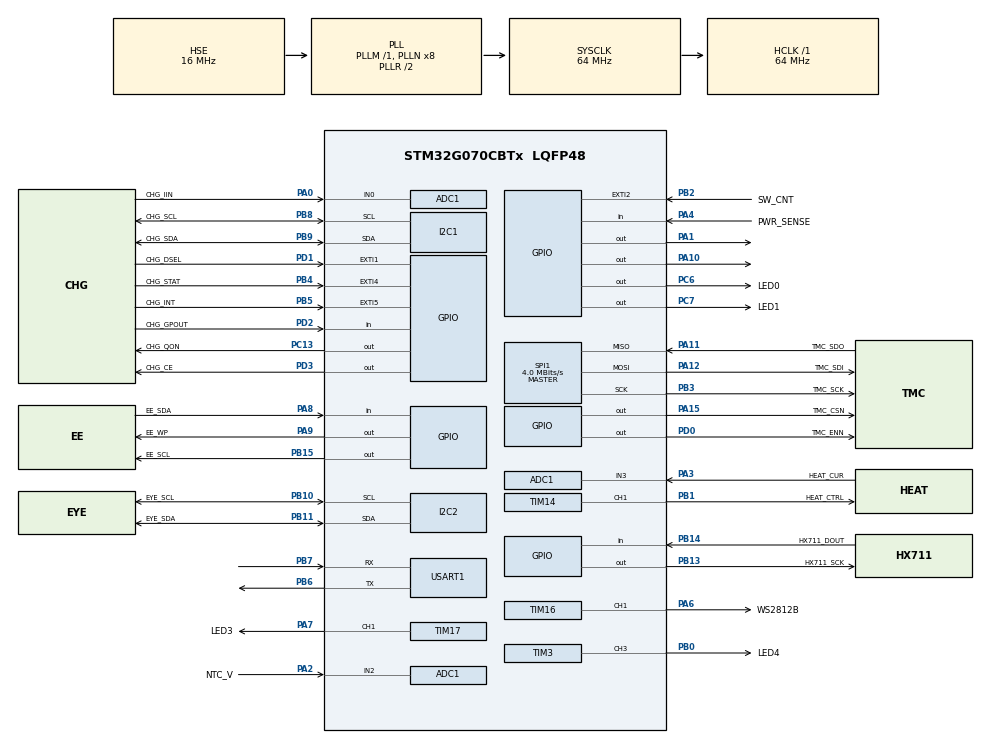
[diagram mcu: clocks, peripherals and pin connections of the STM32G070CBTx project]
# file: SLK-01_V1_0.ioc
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ADC1.Channel-0\#ChannelRegularConversion=ADC_CHANNEL_0
ADC1.Channel-1\#ChannelRegularConversion=ADC_CHANNEL_2
ADC1.Channel-2\#ChannelRegularConversion=ADC_CHANNEL_3
ADC1.ClockPrescaler=ADC_CLOCK_ASYNC_DIV32
ADC1.ContinuousConvMode=ENABLE
ADC1.DMAContinuousRequests=ENABLE
ADC1.EOCSelection=ADC_EOC_SEQ_CONV
ADC1.NbrOfConversion=3
ADC1.NbrOfConversionFlag=1
ADC1.Overrun=ADC_OVR_DATA_OVERWRITTEN
ADC1.OversamplingMode=ENABLE
ADC1.Rank-0\#ChannelRegularConversion=1
ADC1.Rank-1\#ChannelRegularConversion=2
ADC1.Rank-2\#ChannelRegularConversion=3
ADC1.Ratio=ADC_OVERSAMPLING_RATIO_256
ADC1.Resolution=ADC_RESOLUTION_12B
ADC1.RightBitShift=ADC_RIGHTBITSHIFT_4
ADC1.SamplingTime-0\#ChannelRegularConversion=ADC_SAMPLINGTIME_COMMON_1
ADC1.SamplingTime-1\#ChannelRegularConversion=ADC_SAMPLINGTIME_COMMON_1
ADC1.SamplingTime-2\#ChannelRegularConversion=ADC_SAMPLINGTIME_COMMON_1
ADC1.SelectedChannel=ADC_CHANNEL_0|ADC_CHANNEL_2|ADC_CHANNEL_3
ADC1.master=1
Dma.ADC1.4.Direction=DMA_PERIPH_TO_MEMORY
Dma.ADC1.4.EventEnable=DISABLE
Dma.ADC1.4.Instance=DMA1_Channel5
Dma.ADC1.4.MemDataAlignment=DMA_MDATAALIGN_HALFWORD
Dma.ADC1.4.MemInc=DMA_MINC_ENABLE
Dma.ADC1.4.Mode=DMA_CIRCULAR
Dma.ADC1.4.PeriphDataAlignment=DMA_PDATAALIGN_HALFWORD
Dma.ADC1.4.PeriphInc=DMA_PINC_DISABLE
Dma.ADC1.4.Polarity=HAL_DMAMUX_REQ_GEN_RISING
Dma.ADC1.4.Priority=DMA_PRIORITY_LOW
Dma.ADC1.4.RequestNumber=1
Dma.ADC1.4.SignalID=NONE
Dma.ADC1.4.SyncEnable=DISABLE
Dma.ADC1.4.SyncPolarity=HAL_DMAMUX_SYNC_NO_EVENT
Dma.ADC1.4.SyncRequestNumber=1
Dma.ADC1.4.SyncSignalID=NONE
Dma.I2C1_RX.0.Direction=DMA_PERIPH_TO_MEMORY
Dma.I2C1_RX.0.EventEnable=DISABLE
Dma.I2C1_RX.0.Instance=DMA1_Channel1
Dma.I2C1_RX.0.MemDataAlignment=DMA_MDATAALIGN_BYTE
Dma.I2C1_RX.0.MemInc=DMA_MINC_ENABLE
Dma.I2C1_RX.0.Mode=DMA_NORMAL
Dma.I2C1_RX.0.PeriphDataAlignment=DMA_PDATAALIGN_BYTE
Dma.I2C1_RX.0.PeriphInc=DMA_PINC_DISABLE
Dma.I2C1_RX.0.Polarity=HAL_DMAMUX_REQ_GEN_RISING
Dma.I2C1_RX.0.Priority=DMA_PRIORITY_LOW
Dma.I2C1_RX.0.RequestNumber=1
Dma.I2C1_RX.0.SignalID=NONE
Dma.I2C1_RX.0.SyncEnable=DISABLE
Dma.I2C1_RX.0.SyncPolarity=HAL_DMAMUX_SYNC_NO_EVENT
Dma.I2C1_RX.0.SyncRequestNumber=1
Dma.I2C1_RX.0.SyncSignalID=NONE
Dma.I2C1_TX.1.Direction=DMA_MEMORY_TO_PERIPH
Dma.I2C1_TX.1.EventEnable=DISABLE
Dma.I2C1_TX.1.Instance=DMA1_Channel2
Dma.I2C1_TX.1.MemDataAlignment=DMA_MDATAALIGN_BYTE
Dma.I2C1_TX.1.MemInc=DMA_MINC_ENABLE
Dma.I2C1_TX.1.Mode=DMA_NORMAL
Dma.I2C1_TX.1.PeriphDataAlignment=DMA_PDATAALIGN_BYTE
Dma.I2C1_TX.1.PeriphInc=DMA_PINC_DISABLE
Dma.I2C1_TX.1.Polarity=HAL_DMAMUX_REQ_GEN_RISING
Dma.I2C1_TX.1.Priority=DMA_PRIORITY_LOW
Dma.I2C1_TX.1.RequestNumber=1
Dma.I2C1_TX.1.SignalID=NONE
Dma.I2C1_TX.1.SyncEnable=DISABLE
Dma.I2C1_TX.1.SyncPolarity=HAL_DMAMUX_SYNC_NO_EVENT
Dma.I2C1_TX.1.SyncRequestNumber=1
Dma.I2C1_TX.1.SyncSignalID=NONE
Dma.I2C2_RX.2.Direction=DMA_PERIPH_TO_MEMORY
Dma.I2C2_RX.2.EventEnable=DISABLE
Dma.I2C2_RX.2.Instance=DMA1_Channel3
Dma.I2C2_RX.2.MemDataAlignment=DMA_MDATAALIGN_BYTE
Dma.I2C2_RX.2.MemInc=DMA_MINC_ENABLE
Dma.I2C2_RX.2.Mode=DMA_NORMAL
Dma.I2C2_RX.2.PeriphDataAlignment=DMA_PDATAALIGN_BYTE
Dma.I2C2_RX.2.PeriphInc=DMA_PINC_DISABLE
Dma.I2C2_RX.2.Polarity=HAL_DMAMUX_REQ_GEN_RISING
Dma.I2C2_RX.2.Priority=DMA_PRIORITY_LOW
Dma.I2C2_RX.2.RequestNumber=1
Dma.I2C2_RX.2.SignalID=NONE
Dma.I2C2_RX.2.SyncEnable=DISABLE
Dma.I2C2_RX.2.SyncPolarity=HAL_DMAMUX_SYNC_NO_EVENT
Dma.I2C2_RX.2.SyncRequestNumber=1
Dma.I2C2_RX.2.SyncSignalID=NONE
Dma.I2C2_TX.3.Direction=DMA_MEMORY_TO_PERIPH
Dma.I2C2_TX.3.EventEnable=DISABLE
Dma.I2C2_TX.3.Instance=DMA1_Channel4
Dma.I2C2_TX.3.MemDataAlignment=DMA_MDATAALIGN_BYTE
Dma.I2C2_TX.3.MemInc=DMA_MINC_ENABLE
Dma.I2C2_TX.3.Mode=DMA_NORMAL
Dma.I2C2_TX.3.PeriphDataAlignment=DMA_PDATAALIGN_BYTE
Dma.I2C2_TX.3.PeriphInc=DMA_PINC_DISABLE
Dma.I2C2_TX.3.Polarity=HAL_DMAMUX_REQ_GEN_RISING
Dma.I2C2_TX.3.Priority=DMA_PRIORITY_LOW
Dma.I2C2_TX.3.RequestNumber=1
Dma.I2C2_TX.3.SignalID=NONE
Dma.I2C2_TX.3.SyncEnable=DISABLE
Dma.I2C2_TX.3.SyncPolarity=HAL_DMAMUX_SYNC_NO_EVENT
Dma.I2C2_TX.3.SyncRequestNumber=1
Dma.I2C2_TX.3.SyncSignalID=NONE
Dma.Request0=I2C1_RX
Dma.Request1=I2C1_TX
Dma.Request2=I2C2_RX
Dma.Request3=I2C2_TX
Dma.Request4=ADC1
Dma.Request5=TIM16_CH1
Dma.Request6=USART1_RX
Dma.TIM16_CH1.5.Direction=DMA_MEMORY_TO_PERIPH
Dma.TIM16_CH1.5.EventEnable=DISABLE
Dma.TIM16_CH1.5.Instance=DMA1_Channel7
Dma.TIM16_CH1.5.MemDataAlignment=DMA_MDATAALIGN_HALFWORD
Dma.TIM16_CH1.5.MemInc=DMA_MINC_ENABLE
Dma.TIM16_CH1.5.Mode=DMA_CIRCULAR
Dma.TIM16_CH1.5.PeriphDataAlignment=DMA_PDATAALIGN_HALFWORD
Dma.TIM16_CH1.5.PeriphInc=DMA_PINC_DISABLE
Dma.TIM16_CH1.5.Polarity=HAL_DMAMUX_REQ_GEN_RISING
Dma.TIM16_CH1.5.Priority=DMA_PRIORITY_MEDIUM
Dma.TIM16_CH1.5.RequestNumber=1
Dma.TIM16_CH1.5.SignalID=NONE
Dma.TIM16_CH1.5.SyncEnable=DISABLE
Dma.TIM16_CH1.5.SyncPolarity=HAL_DMAMUX_SYNC_NO_EVENT
Dma.TIM16_CH1.5.SyncRequestNumber=1
Dma.TIM16_CH1.5.SyncSignalID=NONE
Dma.USART1_RX.6.Direction=DMA_PERIPH_TO_MEMORY
Dma.USART1_RX.6.EventEnable=DISABLE
Dma.USART1_RX.6.Instance=DMA1_Channel6
Dma.USART1_RX.6.MemDataAlignment=DMA_MDATAALIGN_BYTE
Dma.USART1_RX.6.MemInc=DMA_MINC_ENABLE
Dma.USART1_RX.6.Mode=DMA_NORMAL
Dma.USART1_RX.6.PeriphDataAlignment=DMA_PDATAALIGN_BYTE
Dma.USART1_RX.6.PeriphInc=DMA_PINC_DISABLE
Dma.USART1_RX.6.Polarity=HAL_DMAMUX_REQ_GEN_RISING
Dma.USART1_RX.6.Priority=DMA_PRIORITY_LOW
Dma.USART1_RX.6.RequestNumber=1
Dma.USART1_RX.6.SignalID=NONE
Dma.USART1_RX.6.SyncEnable=DISABLE
Dma.USART1_RX.6.SyncPolarity=HAL_DMAMUX_SYNC_NO_EVENT
Dma.USART1_RX.6.SyncRequestNumber=1
Dma.USART1_RX.6.SyncSignalID=NONE
I2C1.CustomTiming=Disabled
I2C1.Timing=0x10707DBC
I2C2.Timing=0x10707DBC
Mcu.Family=STM32G0
Mcu.Name=STM32G070CBTx
Mcu.Package=LQFP48
NVIC.ADC1_IRQn=true\:0\:0\:false\:false\:true\:true\:true\:true
NVIC.DMA1_Ch4_7_DMAMUX1_OVR_IRQn=true\:0\:0\:false\:false\:true\:false\:true\:true
NVIC.DMA1_Channel1_IRQn=true\:0\:0\:false\:false\:true\:false\:true\:true
NVIC.DMA1_Channel2_3_IRQn=true\:0\:0\:false\:false\:true\:false\:true\:true
NVIC.EXTI2_3_IRQn=true\:0\:0\:false\:false\:true\:true\:true\:true
NVIC.I2C1_IRQn=true\:0\:0\:false\:false\:true\:true\:true\:true
NVIC.I2C2_IRQn=true\:0\:0\:false\:false\:true\:true\:true\:true
NVIC.TIM6_IRQn=true\:0\:0\:false\:false\:true\:true\:true\:true
NVIC.TIM7_IRQn=true\:0\:0\:false\:false\:true\:true\:true\:true
NVIC.USART1_IRQn=true\:0\:0\:false\:false\:true\:true\:true\:true
PA0.GPIO_Label=CHG_IIN
PA0.Mode=IN0
PA0.Signal=ADC1_IN0
PA1.GPIO_ModeDefaultOutputPP=GPIO_MODE_OUTPUT_PP
PA1.GPIO_PuPd=GPIO_PULLDOWN
PA1.GPIO_Speed=GPIO_SPEED_FREQ_LOW
PA1.PinState=GPIO_PIN_RESET
PA1.Signal=GPIO_Output
PA10.GPIO_FMPA10=__NULL
PA10.GPIO_ModeDefaultOutputPP=GPIO_MODE_OUTPUT_OD
PA10.GPIO_PuPd=GPIO_NOPULL
PA10.PinState=GPIO_PIN_RESET
PA10.Signal=GPIO_Output
PA11\ [PA9].GPIO_Label=TMC_SDO
PA11\ [PA9].Mode=Full_Duplex_Master
PA11\ [PA9].Signal=SPI1_MISO
PA12\ [PA10].GPIO_Label=TMC_SDI
PA12\ [PA10].Mode=Full_Duplex_Master
PA12\ [PA10].Signal=SPI1_MOSI
PA13.Mode=Serial_Wire
PA13.Signal=SYS_SWDIO
PA14-BOOT0.Mode=Serial_Wire
PA14-BOOT0.Signal=SYS_SWCLK
PA15.GPIO_Label=TMC_CSN
PA15.PinState=GPIO_PIN_SET
PA15.Signal=GPIO_Output
PA2.GPIO_Label=NTC_V
PA2.Mode=IN2
PA2.Signal=ADC1_IN2
PA3.GPIO_Label=HEAT_CUR
PA3.Mode=IN3
PA3.Signal=ADC1_IN3
PA4.GPIO_Label=PWR_SENSE
PA4.GPIO_PuPd=GPIO_PULLDOWN
PA4.Signal=GPIO_Input
PA6.GPIO_Label=WS2812B
PA6.GPIO_Speed=GPIO_SPEED_FREQ_VERY_HIGH
PA6.Signal=S_TIM16_CH1
PA7.GPIO_Label=LED3
PA7.Signal=S_TIM17_CH1
PA8.GPIO_Label=EE_SDA
PA8.Signal=GPIO_Input
PA9.GPIO_Label=EE_WP
PA9.Signal=GPIO_Output
PB0.GPIO_Label=LED4
PB0.Signal=S_TIM3_CH3
PB1.GPIO_Label=HEAT_CTRL
PB1.Signal=S_TIM14_CH1
PB10.GPIO_Label=EYE_SCL
PB10.Mode=I2C
PB10.Signal=I2C2_SCL
PB11.GPIO_Label=EYE_SDA
PB11.Mode=I2C
PB11.Signal=I2C2_SDA
PB13.GPIO_Label=HX711_SCK
PB13.Signal=GPIO_Output
PB14.GPIO_Label=HX711_DOUT
PB14.Signal=GPIO_Input
PB15.GPIO_Label=EE_SCL
PB15.Signal=GPIO_Output
PB2.GPIO_Label=SW_CNT
PB2.GPIO_ModeDefaultEXTI=GPIO_MODE_IT_FALLING
PB2.Signal=GPXTI2
PB3.GPIO_Label=TMC_SCK
PB3.Mode=Full_Duplex_Master
PB3.Signal=SPI1_SCK
PB4.GPIO_Label=CHG_STAT
PB4.Signal=GPXTI4
PB5.GPIO_Label=CHG_INT
PB5.Signal=GPXTI5
PB6.Mode=Asynchronous
PB6.Signal=USART1_TX
PB7.Mode=Asynchronous
PB7.Signal=USART1_RX
PB8.GPIO_Label=CHG_SCL
PB8.Mode=I2C
PB8.Signal=I2C1_SCL
PB9.GPIO_Label=CHG_SDA
PB9.Mode=I2C
PB9.Signal=I2C1_SDA
PC13.GPIO_Label=CHG_QON
PC13.Signal=GPIO_Output
PC14-OSC32_IN\ (PC14).Mode=LSE-External-Oscillator
PC14-OSC32_IN\ (PC14).Signal=RCC_OSC32_IN
PC15-OSC32_OUT\ (PC15).Mode=LSE-External-Oscillator
PC15-OSC32_OUT\ (PC15).Signal=RCC_OSC32_OUT
PC6.GPIO_Label=LED0
PC6.PinState=GPIO_PIN_SET
PC6.Signal=GPIO_Output
PC7.GPIO_Label=LED1
PC7.PinState=GPIO_PIN_SET
PC7.Signal=GPIO_Output
PD0.GPIO_Label=TMC_ENN
PD0.PinState=GPIO_PIN_SET
PD0.Signal=GPIO_Output
PD1.GPIO_Label=CHG_DSEL
PD1.Signal=GPXTI1
PD2.GPIO_Label=CHG_GPOUT
PD2.Signal=GPIO_Input
PD3.GPIO_Label=CHG_CE
PD3.PinState=GPIO_PIN_SET
PD3.Signal=GPIO_Output
PF0-OSC_IN\ (PF0).Mode=HSE-External-Oscillator
PF0-OSC_IN\ (PF0).Signal=RCC_OSC_IN
PF1-OSC_OUT\ (PF1).Mode=HSE-External-Oscillator
PF1-OSC_OUT\ (PF1).Signal=RCC_OSC_OUT
ProjectManager.HeapSize=0x200
ProjectManager.StackSize=0x400
ProjectManager.TargetToolchain=MDK-ARM V5
RCC.ADCFreq_Value=64000000
RCC.AHBFreq_Value=64000000
RCC.CortexFreq_Value=64000000
RCC.EXTERNAL_CLOCK_VALUE=48000
RCC.HCLKFreq_Value=64000000
RCC.HSE_VALUE=16000000
RCC.HSI_VALUE=16000000
RCC.PLLSourceVirtual=RCC_PLLSOURCE_HSE
RCC.SYSCLKFreq_VALUE=64000000
RCC.SYSCLKSource=RCC_SYSCLKSOURCE_PLLCLK
RCC.VCOOutputFreq_Value=128000000
SH.S_TIM14_CH1.0=TIM14_CH1,PWM Generation1 CH1
SH.S_TIM16_CH1.0=TIM16_CH1,PWM Generation1 CH1
SH.S_TIM17_CH1.0=TIM17_CH1,PWM Generation1 CH1
SH.S_TIM3_CH3.0=TIM3_CH3,PWM Generation3 CH3
SPI1.BaudRatePrescaler=SPI_BAUDRATEPRESCALER_16
SPI1.CLKPhase=SPI_PHASE_2EDGE
SPI1.CLKPolarity=SPI_POLARITY_HIGH
SPI1.CalculateBaudRate=4.0 MBits/s
SPI1.DataSize=SPI_DATASIZE_8BIT
SPI1.Direction=SPI_DIRECTION_2LINES
SPI1.Mode=SPI_MODE_MASTER
SPI1.VirtualType=VM_MASTER
TIM14.Channel=TIM_CHANNEL_1
TIM14.Period=255
TIM14.Prescaler=63
TIM16.AutoReloadPreload=TIM_AUTORELOAD_PRELOAD_DISABLE
TIM16.Channel=TIM_CHANNEL_1
TIM16.Period=160
TIM16.Prescaler=0
TIM17.Channel=TIM_CHANNEL_1
TIM17.Period=499
TIM17.Prescaler=63
TIM3.Channel-PWM\ Generation3\ CH3=TIM_CHANNEL_3
TIM3.Period=499
TIM3.Prescaler=63
TIM6.AutoReloadPreload=TIM_AUTORELOAD_PRELOAD_ENABLE
TIM6.Period=49999
TIM6.Prescaler=639
TIM7.AutoReloadPreload=TIM_AUTORELOAD_PRELOAD_ENABLE
TIM7.Period=4999
TIM7.Prescaler=639
USART1.VirtualMode-Asynchronous=VM_ASYNC
VP_SYS_VS_DBSignals.Mode=DisableDeadBatterySignals
VP_TIM14_VS_ClockSourceINT.Mode=Enable_Timer
VP_TIM16_VS_ClockSourceINT.Mode=Enable_Timer
VP_TIM17_VS_ClockSourceINT.Mode=Enable_Timer
VP_TIM6_VS_ClockSourceINT.Mode=Enable_Timer
VP_TIM7_VS_ClockSourceINT.Mode=Enable_Timer
board=custom

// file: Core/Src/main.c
/* USER CODE BEGIN Header */
/**
ddsa
  */
/* USER CODE END Header */
#include "main.h"
#include "adc.h"
#include "dma.h"
#include "i2c.h"
#include "spi.h"
#include "tim.h"
#include "usart.h"
#include "gpio.h"

/* USER CODE BEGIN Includes */
#include "delay.h"
#include "tmc5130.h"
#include "hx711.h"
#include "bq25895.h"
#include "apply.h"
#include "led.h"
#include "bq27441.h"
#include "screen.h"
#include "tmp114.h"
#include "heat.h"
#include "pid.h"
#include "24cxx.h"
#include "ws2812b.h"
// #include <stdio.h>
// #include <stdlib.h>
// #include <time.h>
/* USER CODE END Includes */

/* USER CODE BEGIN PV */
u8 PWM_SCALE[4], GCONF[4], XACTUAL[4];
u16 ADC_VALUE[3];
u8 tempbq[21];
u8 tempbq1[1], tempbq2[1];
u8 temptmp[2];
u16 tempadc[9];
s32 tempdata, tempdata1, temp2;
s32 ForceRawSetAct_temp;
s32 ForceRawSetAct_temp2;
float Force;
u8 Flag_100ms_Toggle;

extern u32 RGB_DATA;

extern s32 ForceRawOffset;
extern s32 ForceRawActual;
extern s32 ForceRawSet;
extern float EyeTmp;
extern u8 PWR_STATE;
extern u8 WorkMode;
extern u8 PowerState, LastPowerState;
extern PID_TypeDef HeatPID;
extern PID_TypeDef MotorPID;
extern PID_TypeDef MotorPID_speed;
uart_data uart_RX_data;                                                              // DMA空闲接收数组
uart_data received_data;                                                             // 环形数组取出，数组地址
ring_buffer_t uart_rx_ring_buffer = {.head = 0, .tail = 0, .size = UART_QUEUE_SIZE}; // 定义环形数组
int a;
// extern u8 USART1_RX_STA;
/*

1:
2:
3:
3:
*/
extern u8 Flag_3200ms, Flag_800ms, Flag_600ms, Flag_400ms, Flag_200ms, Flag_100ms;
extern u8 BQ25895Reg[21];

extern BQ27441_typedef BQ27441;
/* USER CODE END PV */

void SystemClock_Config(void);

int main(void)
{

    /* MCU Configuration--------------------------------------------------------*/

    /* Reset of all peripherals, Initializes the Flash interface and the Systick. */
    HAL_Init();

    /* Configure the system clock */
    SystemClock_Config();

    /* Initialize all configured peripherals */
    MX_GPIO_Init();
    MX_DMA_Init();
    MX_ADC1_Init();
    MX_I2C1_Init();
    MX_I2C2_Init();
    MX_SPI1_Init();
    MX_USART1_UART_Init();
    MX_TIM3_Init();
    MX_TIM6_Init();
    MX_TIM14_Init();
    MX_TIM16_Init();
    MX_TIM17_Init();
    MX_TIM7_Init();
    /* USER CODE BEGIN 2 */
    delay_init(64);
    //	LEDCtrl(LED3,LEDOn);
    AT24CXX_Init();
    BQ27441_Init();
    BQ25895_Init();
    // HeatPIDInit();
    PID_Init(&HeatPID, 30, 0, 0, 100, 0, 255, 0, 42.5);
    PID_Init(&MotorPID_speed, 0.035, 0, 0, 1000, -1000, (float)(50000), (float)(-50000), (float)ForceRawSet); // 0.03,0.05//0.02, 0.01, 0.02,
    // PID_Init(&MotorPID, 1.8, 0, 0, 1000, -1000, (float)(150000), (float)(0), (float)ForceRawSetAct);
    HeatPower(ON);
    //	HeatPWMSet(50);
    PWM_WS2812B_Init();
    PWM_WS2812B_Show(5);
    ScreenUpdateSOC(BQ27441.SOC, PowerState);
    PowerState = 3;
    PWM_WS2812B_Write_24Bits(5, 0x0000ff);
    PWR_STATE = 1;
    TMC5130_Init();
    MotorChecking();
    HX711_Init();
    HAL_ADC_Start_DMA(&hadc1, (uint32_t *)&ADC_VALUE, 3);
    HAL_UARTEx_ReceiveToIdle_DMA(&huart1, uart_RX_data.buffer, sizeof(uart_RX_data.buffer)); // To open the DMA serial port free to receive, you need to configure the priority of the data processing function, or use the ring array directly
                                                                                             /* USER CODE END 2 */

    /* Infinite loop */
    /* USER CODE BEGIN WHILE */
    while (1) {
        // HAL_GPIO_WritePin(GPIOC, GPIO_PIN_6, GPIO_PIN_SET);
        // HAL_GPIO_WritePin(GPIOC, GPIO_PIN_7, GPIO_PIN_SET);
        if (ring_buffer_get(&uart_rx_ring_buffer, &received_data) == 0) {
            // 处理接收到的数据
            if ((received_data.buffer[0] == 0x5A) && (received_data.buffer[1] == 0xA5)) {
                UART1_CMDHandler((PCTRL_MSG)received_data.buffer);
            }
            if ((received_data.buffer[0] == 0x7A) && (received_data.buffer[1] == 0xA7)) {//updata pid
                PCTRL_MSG_PID pid_data = (CTRL_MSG_PID *)received_data.buffer;//force Conversion receiving frame
                PID_Init(&MotorPID_speed, pid_data->p, pid_data->i, pid_data->d, 1000, -1000, (float)(50000), (float)(-50000), (float)ForceRawSet); // 0.03,0.05//0.02, 0.01, 0.02,
            }
        }
        if (PowerState == 10) {
            if (Flag_800ms) {
                BQ25895_MultiRead(BQ25895Reg);
                PowerStateUpdate();
                LEDUpdate();
                BQ27441_MultiRead(&BQ27441);
                BATCheckDIS();
                Flag_800ms = 0;
            }
            LEDUpdate();
            PWR_STATE = 0;
            HAL_ADC_Stop_DMA(&hadc1);
            PWM_WS2812B_Write_24Bits(5, 0x000000);
            SystemPowerDown();
        }
        // else if (PowerState == 1) // iic confirms that type_c is  not charging
        // {
        // a++; // HAL_GPIO_WritePin(GPIOA,GPIO_PIN_1,RESET);//灞忓箷澶嶅師
        LEDUpdate();
        // HAL_Delay(20);
        // ScreenUpdateSOC(BQ27441.SOC, PowerState); // 鐢甸噺涓婁紶
        SW_CMDHandler();
        TaskProcessing();
        if (USART1_RX_STA == 1) {
            UART1_CMDHandler((PCTRL_MSG)USART1_RX_BUF);
            USART1_RX_STA = 0;
        }
        if (Flag_3200ms) {
            ScreenUpdateSOC(BQ27441.SOC, PowerState);
            Flag_3200ms = 0;
        }
        if (Flag_800ms) {
            BQ25895_MultiRead(BQ25895Reg); //
            PowerStateUpdate();            //
            LEDUpdate();                   //
            BQ27441_MultiRead(&BQ27441);   //
            BATCheckDIS();
            Flag_800ms = 0;
        }
        if (Flag_600ms) {

            if (((WorkMode == 5) || (WorkMode == 1) || (WorkMode == 3) || (WorkMode == 7)) && (Flag_100ms_Toggle == 0)) { //&& Flag_100ms_Toggle == 0
                ScreenUpdateTemperature(EyeTmp);
            }
            if ((((WorkMode & 0x06) == 0x06) || ((WorkMode & 0x07) == 0x07)) && (Flag_100ms_Toggle == 1)) { // && Flag_100ms_Toggle == 1
                ForceRawSetAct_temp = (ForceRawActual - ForceRawOffset < 0) ? 0 : (ForceRawActual - ForceRawOffset);
                Limit(ForceRawSetAct_temp, 0, ForceRawSetAct_temp);
                ScreenUpdateForce(ForceRawSetAct_temp);

                // HAL_GPIO_TogglePin(GPIOC, GPIO_PIN_6);LED0
            }
            Flag_100ms_Toggle = !Flag_100ms_Toggle;
            Flag_600ms        = 0;
        }
        if (PWR_SW == 0) {
        }
    }

    /* USER CODE END WHILE */

    /* USER CODE BEGIN 3 */
    //}
    /* USER CODE END 3 */
}

void SystemClock_Config(void)
{
    RCC_OscInitTypeDef RCC_OscInitStruct = {0};
    RCC_ClkInitTypeDef RCC_ClkInitStruct = {0};

    /** Configure the main internal regulator output voltage
     */
    HAL_PWREx_ControlVoltageScaling(PWR_REGULATOR_VOLTAGE_SCALE1);

    /** Initializes the RCC Oscillators according to the specified parameters
     * in the RCC_OscInitTypeDef structure.
     */
    RCC_OscInitStruct.OscillatorType = RCC_OSCILLATORTYPE_HSE;
    RCC_OscInitStruct.HSEState       = RCC_HSE_ON;
    RCC_OscInitStruct.PLL.PLLState   = RCC_PLL_ON;
    RCC_OscInitStruct.PLL.PLLSource  = RCC_PLLSOURCE_HSE;
    RCC_OscInitStruct.PLL.PLLM       = RCC_PLLM_DIV1;
    RCC_OscInitStruct.PLL.PLLN       = 8;
    RCC_OscInitStruct.PLL.PLLP       = RCC_PLLP_DIV2;
    RCC_OscInitStruct.PLL.PLLR       = RCC_PLLR_DIV2;
    if (HAL_RCC_OscConfig(&RCC_OscInitStruct) != HAL_OK) {
        Error_Handler();
    }

    /** Initializes the CPU, AHB and APB buses clocks
     */
    RCC_ClkInitStruct.ClockType      = RCC_CLOCKTYPE_HCLK | RCC_CLOCKTYPE_SYSCLK | RCC_CLOCKTYPE_PCLK1;
    RCC_ClkInitStruct.SYSCLKSource   = RCC_SYSCLKSOURCE_PLLCLK;
    RCC_ClkInitStruct.AHBCLKDivider  = RCC_SYSCLK_DIV1;
    RCC_ClkInitStruct.APB1CLKDivider = RCC_HCLK_DIV1;

    if (HAL_RCC_ClockConfig(&RCC_ClkInitStruct, FLASH_LATENCY_2) != HAL_OK) {
        Error_Handler();
    }
}

void Error_Handler(void)
{
    __disable_irq();
    while (1) {
    }
}
